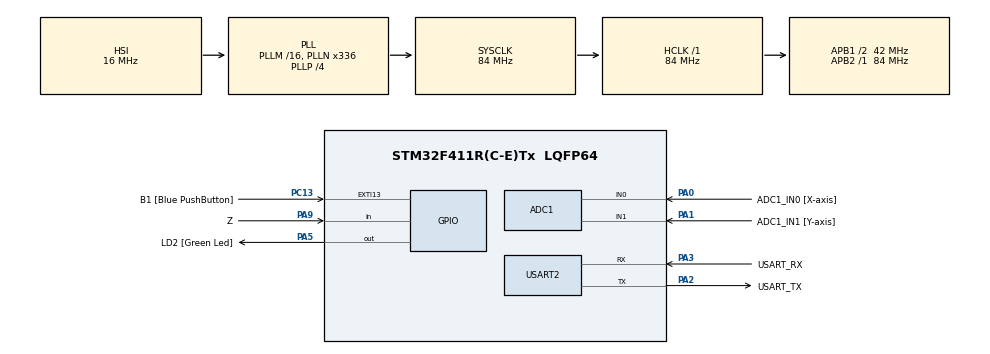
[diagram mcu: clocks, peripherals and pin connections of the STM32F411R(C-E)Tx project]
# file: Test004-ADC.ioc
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ADC1.Channel-10\#ChannelRegularConversion=ADC_CHANNEL_0
ADC1.Channel-11\#ChannelRegularConversion=ADC_CHANNEL_1
ADC1.ContinuousConvMode=DISABLE
ADC1.DiscontinuousConvMode=ENABLE
ADC1.EOCSelection=ADC_EOC_SINGLE_CONV
ADC1.NbrOfConversion=2
ADC1.NbrOfConversionFlag=1
ADC1.Rank-10\#ChannelRegularConversion=1
ADC1.Rank-11\#ChannelRegularConversion=2
ADC1.SamplingTime-10\#ChannelRegularConversion=ADC_SAMPLETIME_3CYCLES
ADC1.SamplingTime-11\#ChannelRegularConversion=ADC_SAMPLETIME_3CYCLES
ADC1.master=1
Mcu.Family=STM32F4
Mcu.Name=STM32F411R(C-E)Tx
Mcu.Package=LQFP64
NVIC.PriorityGroup=NVIC_PRIORITYGROUP_0
PA0-WKUP.GPIO_Label=ADC1_IN0 [X-axis]
PA0-WKUP.Signal=ADCx_IN0
PA1.GPIO_Label=ADC1_IN1 [Y-axis]
PA1.Signal=ADCx_IN1
PA13.GPIO_Label=TMS
PA13.Mode=Serial_Wire
PA13.Signal=SYS_JTMS-SWDIO
PA14.GPIO_Label=TCK
PA14.Mode=Serial_Wire
PA14.Signal=SYS_JTCK-SWCLK
PA2.GPIO_Label=USART_TX
PA2.Mode=Asynchronous
PA2.Signal=USART2_TX
PA3.GPIO_Label=USART_RX
PA3.Mode=Asynchronous
PA3.Signal=USART2_RX
PA5.GPIO_Label=LD2 [Green Led]
PA5.Signal=GPIO_Output
PA9.GPIO_Label=Z
PA9.GPIO_PuPd=GPIO_PULLUP
PA9.Signal=GPIO_Input
PB3.GPIO_Label=SWO
PB3.Signal=SYS_JTDO-SWO
PC13-ANTI_TAMP.GPIO_Label=B1 [Blue PushButton]
PC13-ANTI_TAMP.GPIO_ModeDefaultEXTI=GPIO_MODE_IT_FALLING
PC13-ANTI_TAMP.Signal=GPXTI13
PC14-OSC32_IN.Mode=LSE-External-Oscillator
PC14-OSC32_IN.Signal=RCC_OSC32_IN
PC15-OSC32_OUT.Mode=LSE-External-Oscillator
PC15-OSC32_OUT.Signal=RCC_OSC32_OUT
PH0\ -\ OSC_IN.Mode=HSE-External-Clock-Source
PH0\ -\ OSC_IN.Signal=RCC_OSC_IN
PH1\ -\ OSC_OUT.Mode=HSE-External-Clock-Source
PH1\ -\ OSC_OUT.Signal=RCC_OSC_OUT
ProjectManager.HeapSize=0x200
ProjectManager.StackSize=0x400
ProjectManager.TargetToolchain=STM32CubeIDE
RCC.48MHZClocksFreq_Value=84000000
RCC.AHBFreq_Value=84000000
RCC.APB1CLKDivider=RCC_HCLK_DIV2
RCC.APB1Freq_Value=42000000
RCC.APB1TimFreq_Value=84000000
RCC.APB2Freq_Value=84000000
RCC.APB2TimFreq_Value=84000000
RCC.CortexFreq_Value=84000000
RCC.FLatency-AdvancedSettings=FLASH_LATENCY_2
RCC.HCLKFreq_Value=84000000
RCC.HSE_VALUE=8000000
RCC.HSI_VALUE=16000000
RCC.PLLN=336
RCC.PLLP=RCC_PLLP_DIV4
RCC.SYSCLKFreq_VALUE=84000000
RCC.SYSCLKSource=RCC_SYSCLKSOURCE_PLLCLK
RCC.VCOOutputFreq_Value=336000000
SH.ADCx_IN0.0=ADC1_IN0,IN0
SH.ADCx_IN1.0=ADC1_IN1,IN1
USART2.VirtualMode=VM_ASYNC
board=NUCLEO-F411RE

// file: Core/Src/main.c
/* USER CODE BEGIN Header */
/**
  ******************************************************************************
  * @file           : main.c
  * @brief          : Main program body
  ******************************************************************************
  * @attention
  *
  * Copyright (c) 2024 STMicroelectronics.
  * All rights reserved.
  *
  * This software is licensed under terms that can be found in the LICENSE file
  * in the root directory of this software component.
  * If no LICENSE file comes with this software, it is provided AS-IS.
  *
  ******************************************************************************
  */
/* USER CODE END Header */
#include "main.h"

/* USER CODE BEGIN Includes */
#include <stdio.h>

/* USER CODE END Includes */

ADC_HandleTypeDef hadc1;

UART_HandleTypeDef huart2;

void SystemClock_Config(void);
static void MX_GPIO_Init(void);
static void MX_USART2_UART_Init(void);
static void MX_ADC1_Init(void);

int main(void)
{

  /* MCU Configuration--------------------------------------------------------*/

  /* Reset of all peripherals, Initializes the Flash interface and the Systick. */
  HAL_Init();

  /* Configure the system clock */
  SystemClock_Config();

  /* Initialize all configured peripherals */
  MX_GPIO_Init();
  MX_USART2_UART_Init();
  MX_ADC1_Init();
  /* USER CODE BEGIN 2 */
  ProgramStart("ADC-Polling");

  /* USER CODE END 2 */

  /* Infinite loop */
  while (1)
  {

    /* USER CODE BEGIN 3 */
	HAL_ADC_Start(&hadc1); // ADC Start Function
	// HAL_ADC_Start(ADC_HandleTypeDef *hadc)

	HAL_ADC_PollForConversion(&hadc1, 10); // 1 time Sampling
	// HAL_ADC_PollForConversion(ADC_HandleTypeDef *hadc, uint32_t Timeout)
	// uint32_t Timeout : Max. Response Time

	int val1 = HAL_ADC_GetValue(&hadc1); // ch0 (X-axis)
	// uint32_t HAL_ADC_GetValue(ADC_HandleTypeDef *hadc) : 0 ~ 4095 int Return

	HAL_ADC_Start(&hadc1); // ADC Start Function
	HAL_ADC_PollForConversion(&hadc1, 10); // 1 time Sampling
	int val2 = HAL_ADC_GetValue(&hadc1); // ch1 (Y-axis)

	int con_val1 = (79 * (val1 + 1) / 4096); // X-axis (Converted)
	int con_val2 = (23 * (val2 + 1) / 4096); // Y-axis (Converted)

	int Z_BTN = HAL_GPIO_ReadPin(Z_GPIO_Port, Z_Pin);
	// GPIO_PinState HAL_GPIO_ReadPin(GPIOx, GPIO_Pin);
	// Pull-up : OFF 'H' ON 'L'

	if (!Z_BTN)
	{
		// printf("Joystick value : ( %d ,%d ) : ( %d ,%d ) (Z button) - Pushed \r\n", val1, val2, con_val1, con_val2);
		printf("Pushed");
		HAL_Delay(100);
	}
	else
	{
		// printf("Joystick value : ( %d ,%d ) : ( %d ,%d ) \r\n", val1, val2, con_val1, con_val2);
		printf(" ");
		HAL_Delay(100);
	}

	Cursor(con_val1, con_val2); // Move Cursor to Position by Joystick Movement
  }
  /* USER CODE END 3 */
}

void SystemClock_Config(void)
{
  RCC_OscInitTypeDef RCC_OscInitStruct = {0};
  RCC_ClkInitTypeDef RCC_ClkInitStruct = {0};

  /** Configure the main internal regulator output voltage
  */
  __HAL_RCC_PWR_CLK_ENABLE();
  __HAL_PWR_VOLTAGESCALING_CONFIG(PWR_REGULATOR_VOLTAGE_SCALE1);

  /** Initializes the RCC Oscillators according to the specified parameters
  * in the RCC_OscInitTypeDef structure.
  */
  RCC_OscInitStruct.OscillatorType = RCC_OSCILLATORTYPE_HSI;
  RCC_OscInitStruct.HSIState = RCC_HSI_ON;
  RCC_OscInitStruct.HSICalibrationValue = RCC_HSICALIBRATION_DEFAULT;
  RCC_OscInitStruct.PLL.PLLState = RCC_PLL_ON;
  RCC_OscInitStruct.PLL.PLLSource = RCC_PLLSOURCE_HSI;
  RCC_OscInitStruct.PLL.PLLM = 16;
  RCC_OscInitStruct.PLL.PLLN = 336;
  RCC_OscInitStruct.PLL.PLLP = RCC_PLLP_DIV4;
  RCC_OscInitStruct.PLL.PLLQ = 4;
  if (HAL_RCC_OscConfig(&RCC_OscInitStruct) != HAL_OK)
  {
    Error_Handler();
  }

  /** Initializes the CPU, AHB and APB buses clocks
  */
  RCC_ClkInitStruct.ClockType = RCC_CLOCKTYPE_HCLK|RCC_CLOCKTYPE_SYSCLK
                              |RCC_CLOCKTYPE_PCLK1|RCC_CLOCKTYPE_PCLK2;
  RCC_ClkInitStruct.SYSCLKSource = RCC_SYSCLKSOURCE_PLLCLK;
  RCC_ClkInitStruct.AHBCLKDivider = RCC_SYSCLK_DIV1;
  RCC_ClkInitStruct.APB1CLKDivider = RCC_HCLK_DIV2;
  RCC_ClkInitStruct.APB2CLKDivider = RCC_HCLK_DIV1;

  if (HAL_RCC_ClockConfig(&RCC_ClkInitStruct, FLASH_LATENCY_2) != HAL_OK)
  {
    Error_Handler();
  }
}

static void MX_ADC1_Init(void)
{

  ADC_ChannelConfTypeDef sConfig = {0};

  /** Configure the global features of the ADC (Clock, Resolution, Data Alignment and number of conversion)
  */
  hadc1.Instance = ADC1;
  hadc1.Init.ClockPrescaler = ADC_CLOCK_SYNC_PCLK_DIV4;
  hadc1.Init.Resolution = ADC_RESOLUTION_12B;
  hadc1.Init.ScanConvMode = ENABLE;
  hadc1.Init.ContinuousConvMode = DISABLE;
  hadc1.Init.DiscontinuousConvMode = ENABLE;
  hadc1.Init.NbrOfDiscConversion = 1;
  hadc1.Init.ExternalTrigConvEdge = ADC_EXTERNALTRIGCONVEDGE_NONE;
  hadc1.Init.ExternalTrigConv = ADC_SOFTWARE_START;
  hadc1.Init.DataAlign = ADC_DATAALIGN_RIGHT;
  hadc1.Init.NbrOfConversion = 2;
  hadc1.Init.DMAContinuousRequests = DISABLE;
  hadc1.Init.EOCSelection = ADC_EOC_SINGLE_CONV;
  if (HAL_ADC_Init(&hadc1) != HAL_OK)
  {
    Error_Handler();
  }

  /** Configure for the selected ADC regular channel its corresponding rank in the sequencer and its sample time.
  */
  sConfig.Channel = ADC_CHANNEL_0;
  sConfig.Rank = 1;
  sConfig.SamplingTime = ADC_SAMPLETIME_3CYCLES;
  if (HAL_ADC_ConfigChannel(&hadc1, &sConfig) != HAL_OK)
  {
    Error_Handler();
  }

  /** Configure for the selected ADC regular channel its corresponding rank in the sequencer and its sample time.
  */
  sConfig.Channel = ADC_CHANNEL_1;
  sConfig.Rank = 2;
  if (HAL_ADC_ConfigChannel(&hadc1, &sConfig) != HAL_OK)
  {
    Error_Handler();
  }

}

static void MX_USART2_UART_Init(void)
{

  huart2.Instance = USART2;
  huart2.Init.BaudRate = 115200;
  huart2.Init.WordLength = UART_WORDLENGTH_8B;
  huart2.Init.StopBits = UART_STOPBITS_1;
  huart2.Init.Parity = UART_PARITY_NONE;
  huart2.Init.Mode = UART_MODE_TX_RX;
  huart2.Init.HwFlowCtl = UART_HWCONTROL_NONE;
  huart2.Init.OverSampling = UART_OVERSAMPLING_16;
  if (HAL_UART_Init(&huart2) != HAL_OK)
  {
    Error_Handler();
  }

}

static void MX_GPIO_Init(void)
{
  GPIO_InitTypeDef GPIO_InitStruct = {0};

  /* GPIO Ports Clock Enable */
  __HAL_RCC_GPIOC_CLK_ENABLE();
  __HAL_RCC_GPIOH_CLK_ENABLE();
  __HAL_RCC_GPIOA_CLK_ENABLE();
  __HAL_RCC_GPIOB_CLK_ENABLE();

  /*Configure GPIO pin Output Level */
  HAL_GPIO_WritePin(LD2_GPIO_Port, LD2_Pin, GPIO_PIN_RESET);

  /*Configure GPIO pin : B1_Pin */
  GPIO_InitStruct.Pin = B1_Pin;
  GPIO_InitStruct.Mode = GPIO_MODE_IT_FALLING;
  GPIO_InitStruct.Pull = GPIO_NOPULL;
  HAL_GPIO_Init(B1_GPIO_Port, &GPIO_InitStruct);

  /*Configure GPIO pin : LD2_Pin */
  GPIO_InitStruct.Pin = LD2_Pin;
  GPIO_InitStruct.Mode = GPIO_MODE_OUTPUT_PP;
  GPIO_InitStruct.Pull = GPIO_NOPULL;
  GPIO_InitStruct.Speed = GPIO_SPEED_FREQ_LOW;
  HAL_GPIO_Init(LD2_GPIO_Port, &GPIO_InitStruct);

  /*Configure GPIO pin : Z_Pin */
  GPIO_InitStruct.Pin = Z_Pin;
  GPIO_InitStruct.Mode = GPIO_MODE_INPUT;
  GPIO_InitStruct.Pull = GPIO_PULLUP;
  HAL_GPIO_Init(Z_GPIO_Port, &GPIO_InitStruct);

}

void Error_Handler(void)
{
  __disable_irq();
  while (1)
  {
  }
}
